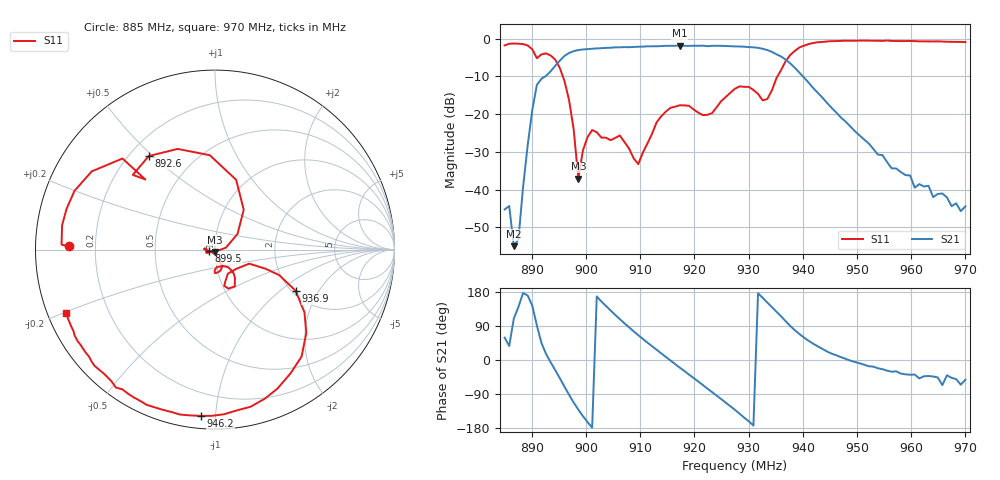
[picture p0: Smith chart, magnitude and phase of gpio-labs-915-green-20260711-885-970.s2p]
# HZ S RI R 50
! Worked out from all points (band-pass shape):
!   101 points, 885 MHz to 970 MHz, reference 50 ohm
!   highest |S21| = -1.84 dB at 917.3 MHz (marker M1); lowest = -55.0 dB at 886.7 MHz (marker M2)
!   |S21| within 3 dB of the highest: 895.9 MHz to 936.1 MHz (40.26 MHz wide, 4.39 % of centre)
!   lowest |S11| = -37.1 dB at 898.6 MHz (marker M3), VSWR 1.03, Z = 49.7 - j1.36 ohm
!   |S11| at or under -10 dB: 895.7 MHz to 935.3 MHz (39.59 MHz wide, 4.32 % of centre)
!   S12 and S22 are empty: the file has one direction only
!   S11 on the Smith chart (normalised r, x): 885 MHz: 0.10, +0.01; 892.6 MHz: 0.28, +0.49; 899.5 MHz: 0.94, -0.01; 936.9 MHz: 2.10, -1.29; 946.2 MHz: 0.07, -0.92; 970 MHz: 0.05, -0.20
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8.85e8  -0.8147 0.0174  0.00281 0.00469  0 0  0 0
8.8585e8  -0.8549 0.0282  0.00484 0.00366  0 0  0 0
8.867e8  -0.852 0.1355  -0.000595 0.00168  0 0  0 0
8.8755e8  -0.8271 0.2269  -0.00169 0.00141  0 0  0 0
8.9095e8  -0.3881 0.3907  -0.00521 0.2438  0 0  0 0
8.9265e8  -0.3686 0.5213  0.3091 0.0874  0 0  0 0
8.9605e8  0.16 0.222  0.197 -0.5571  0 0  0 0
8.986e8  -0.00254 -0.0137  -0.4636 -0.533  0 0  0 0
8.9945e8  -0.0323 -0.00738  -0.6108 -0.3798  0 0  0 0
9.0285e8  -0.0487 0.00412  -0.6735 0.324  0 0  0 0
9.071e8  -0.0387 -0.0185  -0.0925 0.7677  0 0  0 0
9.0965e8  -0.0103 -0.0192  0.3228 0.7117  0 0  0 0
9.139e8  0.0385 -0.0856  0.7616 0.2376  0 0  0 0
9.173e8  0.00581 -0.1309  0.7604 -0.2762  0 0  0 0
9.2325e8  0.0463 -0.0918  0.0772 -0.8  0 0  0 0
9.275e8  0.1103 -0.1873  -0.5263 -0.5893  0 0  0 0
9.3175e8  0.0577 -0.1763  -0.7541 0.0535  0 0  0 0
9.3685e8  0.4494 -0.2294  -0.1133 0.5154  0 0  0 0
9.4195e8  0.2794 -0.8296  0.1619 0.1497  0 0  0 0
9.462e8  -0.0777 -0.9261  0.1024 0.0224  0 0  0 0
9.564e8  -0.5762 -0.7343  0.0164 -0.00984  0 0  0 0
9.7e8  -0.8281 -0.3533  0.0037 -0.00472  0 0  0 0
